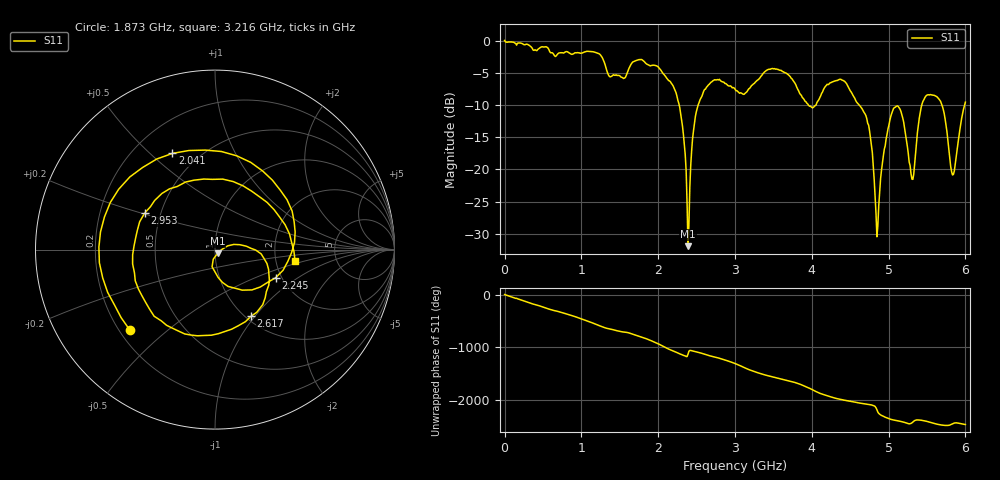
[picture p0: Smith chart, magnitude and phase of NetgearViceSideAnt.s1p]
# Hz S RI R 50
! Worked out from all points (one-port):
!   501 points, 1 MHz to 6 GHz, reference 50 ohm
!   lowest |S11| = -31.9 dB at 2.389 GHz (marker M1), VSWR 1.05, Z = 51.4 - j2.16 ohm
!   |S11| at or under -10 dB: 2.274 GHz to 2.52 GHz (245.2 MHz wide, 10.2 % of centre); 4.621 GHz to 5.432 GHz (810.5 MHz wide, 16.1 % of centre); 5.695 GHz to 5.989 GHz (294.4 MHz wide, 5.04 % of centre)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
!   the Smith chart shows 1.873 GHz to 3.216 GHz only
!   S11 on the Smith chart (normalised r, x): 1.873 GHz: 0.24, -0.38; 2.041 GHz: 0.36, +0.59; 2.245 GHz: 1.86, -0.68; 2.617 GHz: 1.06, -0.96; 2.953 GHz: 0.41, +0.21; 3.216 GHz: 2.57, -0.39
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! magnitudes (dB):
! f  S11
! 1 MHz  0.1
! 756.9 MHz  -1.8
! 1.501 GHz  -5.4
! 1.873 GHz  -3.7
! 2.041 GHz  -4.6
! 2.245 GHz  -8.6
! 2.257 GHz  -9.2
! 2.329 GHz  -14.5
! 2.389 GHz  -31.9
! 2.473 GHz  -12.9
! 2.617 GHz  -7.5
! 2.953 GHz  -7.1
! 3.001 GHz  -7.5
! 3.216 GHz  -6.9
! 3.756 GHz  -6.2
! 3.996 GHz  -10.3
! 4.5 GHz  -7.7
! 4.728 GHz  -12.8
! 4.848 GHz  -30.5
! 5.064 GHz  -10.5
! 5.16 GHz  -10.9
! 5.256 GHz  -17.5
! 5.316 GHz  -21.5
! 5.436 GHz  -9.8
! 5.604 GHz  -8.5
! 5.712 GHz  -10.7
! 5.844 GHz  -20.8
! 6 GHz  -9.5
